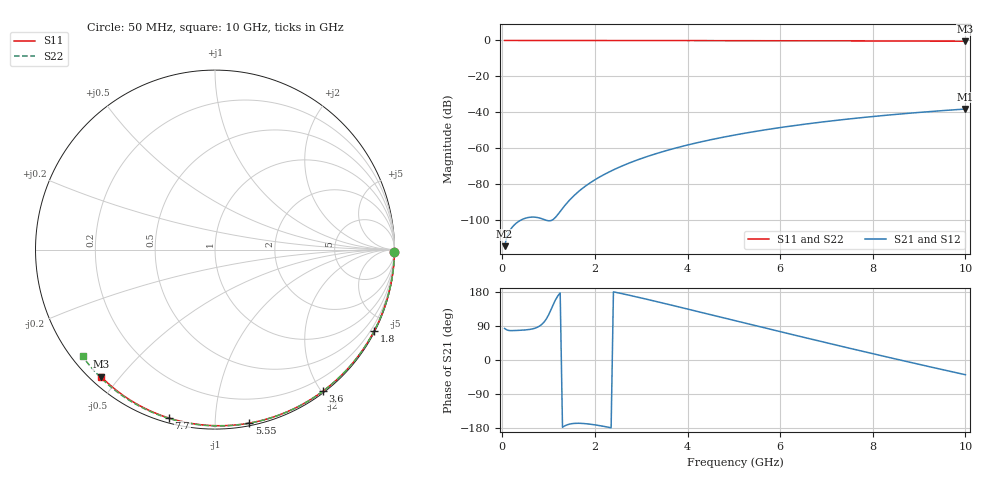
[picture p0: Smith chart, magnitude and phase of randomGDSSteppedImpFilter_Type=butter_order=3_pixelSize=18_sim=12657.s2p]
! freq	dB(S11)	phase(S11)	dB(S12)	phase(S12)
!  dB(S21)	phase(S21)	dB(S22)	phase(S22)
!S-par simulation data
#  GHz  S  DB  R 50
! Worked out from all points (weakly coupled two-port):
!   200 points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, 50 MHz to 10 GHz, reference 50 ohm
!   highest |S21| = -38.15 dB at 10 GHz (marker M1); lowest = -114.5 dB at 50 MHz (marker M2)
!   lowest |S11| = -0.4 dB at 10 GHz (marker M3), VSWR 39.53, Z = 1.52 - j22.3 ohm
!   |S11| at or under -10 dB: nowhere
!   |S22| runs from -0.5 to 0.0 dB; largest |S21 - S12| = 0
!   S11 on the Smith chart (normalised r, x): 50 MHz: open; 1.8 GHz: 0.04, -4.17; 3.6 GHz: 0.02, -2.02; 5.55 GHz: 0.02, -1.22; 7.7 GHz: 0.02, -0.76; 10 GHz: 0.03, -0.45
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0.05  -0.00 -0.8  -114.48 83.2  -114.48 83.2  -0.00 -0.8
0.45  -0.01 -6.8  -99.38 78.9  -99.38 78.9  -0.01 -7.3
0.9  -0.02 -13.6  -99.63 99.8  -99.63 99.8  -0.02 -14.6
1.75  -0.03 -26.2  -81.93 -167.5  -81.93 -167.5  -0.04 -28.1
1.8  -0.03 -27.0  -80.97 -168.0  -80.97 -168.0  -0.04 -28.9
1.85  -0.04 -27.7  -80.05 -168.7  -80.05 -168.7  -0.04 -29.6
2.15  -0.04 -32.1  -75.28 -174.2  -75.28 -174.2  -0.04 -34.3
2.35  -0.04 -35.0  -72.62 -178.9  -72.62 -178.9  -0.05 -37.4
2.55  -0.05 -37.9  -70.25 176.0  -70.25 176.0  -0.05 -40.5
2.95  -0.06 -43.6  -66.18 165.1  -66.18 165.1  -0.06 -46.6
3.4  -0.07 -50.0  -62.37 152.2  -62.37 152.2  -0.07 -53.4
3.6  -0.07 -52.8  -60.88 146.4  -60.88 146.4  -0.08 -56.4
3.9  -0.08 -56.9  -58.83 137.5  -58.83 137.5  -0.08 -60.8
4.3  -0.09 -62.4  -56.38 125.6  -56.38 125.6  -0.09 -66.6
5.05  -0.11 -72.3  -52.47 103.1  -52.47 103.1  -0.12 -77.2
5.55  -0.13 -78.8  -50.26 88.2  -50.26 88.2  -0.14 -84.1
6.1  -0.15 -85.8  -48.11 71.9  -48.11 71.9  -0.16 -91.5
6.7  -0.18 -93.2  -46.04 54.2  -46.04 54.2  -0.19 -99.4
7.7  -0.24 -105.3  -43.11 25.2  -43.11 25.2  -0.26 -112.3
8.35  -0.29 -112.9  -41.48 6.7  -41.48 6.7  -0.31 -120.5
9.2  -0.36 -122.7  -39.64 -17.0  -39.64 -17.0  -0.38 -131.2
10  -0.44 -131.9  -38.15 -38.9  -38.15 -38.9  -0.47 -141.2
